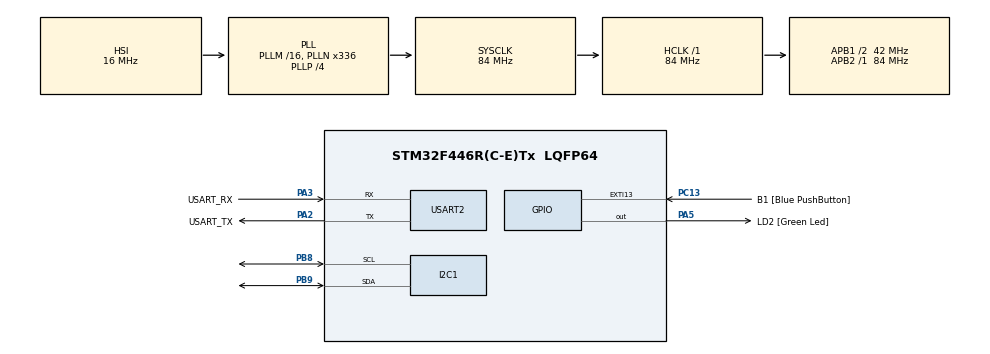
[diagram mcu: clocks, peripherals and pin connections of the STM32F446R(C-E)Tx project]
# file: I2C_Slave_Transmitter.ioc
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Dma.I2C1_TX.0.Direction=DMA_MEMORY_TO_PERIPH
Dma.I2C1_TX.0.FIFOMode=DMA_FIFOMODE_DISABLE
Dma.I2C1_TX.0.Instance=DMA1_Stream6
Dma.I2C1_TX.0.MemDataAlignment=DMA_MDATAALIGN_BYTE
Dma.I2C1_TX.0.MemInc=DMA_MINC_ENABLE
Dma.I2C1_TX.0.Mode=DMA_NORMAL
Dma.I2C1_TX.0.PeriphDataAlignment=DMA_PDATAALIGN_BYTE
Dma.I2C1_TX.0.PeriphInc=DMA_PINC_DISABLE
Dma.I2C1_TX.0.Priority=DMA_PRIORITY_LOW
Dma.Request0=I2C1_TX
I2C1.OwnAddress=0x64
Mcu.Family=STM32F4
Mcu.Name=STM32F446R(C-E)Tx
Mcu.Package=LQFP64
NVIC.DMA1_Stream6_IRQn=true\:0\:0\:false\:false\:true\:false\:true\:true
NVIC.I2C1_ER_IRQn=true\:0\:0\:false\:false\:true\:true\:true\:true
NVIC.I2C1_EV_IRQn=true\:0\:0\:false\:false\:true\:true\:true\:true
NVIC.PriorityGroup=NVIC_PRIORITYGROUP_0
PA13.GPIO_Label=TMS
PA13.Mode=Serial_Wire
PA13.Signal=SYS_JTMS-SWDIO
PA14.GPIO_Label=TCK
PA14.Mode=Serial_Wire
PA14.Signal=SYS_JTCK-SWCLK
PA2.GPIO_Label=USART_TX
PA2.Mode=Asynchronous
PA2.Signal=USART2_TX
PA3.GPIO_Label=USART_RX
PA3.Mode=Asynchronous
PA3.Signal=USART2_RX
PA5.GPIO_Label=LD2 [Green Led]
PA5.Signal=GPIO_Output
PB3.GPIO_Label=SWO
PB3.Signal=SYS_JTDO-SWO
PB8.Mode=I2C
PB8.Signal=I2C1_SCL
PB9.Mode=I2C
PB9.Signal=I2C1_SDA
PC13.GPIO_Label=B1 [Blue PushButton]
PC13.GPIO_ModeDefaultEXTI=GPIO_MODE_IT_FALLING
PC13.Signal=GPXTI13
PC14-OSC32_IN.Mode=LSE-External-Oscillator
PC14-OSC32_IN.Signal=RCC_OSC32_IN
PC15-OSC32_OUT.Mode=LSE-External-Oscillator
PC15-OSC32_OUT.Signal=RCC_OSC32_OUT
PH0-OSC_IN.Mode=HSE-External-Oscillator
PH0-OSC_IN.Signal=RCC_OSC_IN
PH1-OSC_OUT.Mode=HSE-External-Oscillator
PH1-OSC_OUT.Signal=RCC_OSC_OUT
ProjectManager.HeapSize=0x200
ProjectManager.StackSize=0x400
ProjectManager.TargetToolchain=STM32CubeIDE
RCC.48MHZClocksFreq_Value=84000000
RCC.AHBFreq_Value=84000000
RCC.APB1CLKDivider=RCC_HCLK_DIV2
RCC.APB1Freq_Value=42000000
RCC.APB1TimFreq_Value=84000000
RCC.APB2Freq_Value=84000000
RCC.APB2TimFreq_Value=84000000
RCC.CortexFreq_Value=84000000
RCC.FLatency-AdvancedSettings=FLASH_LATENCY_2
RCC.HCLKFreq_Value=84000000
RCC.HSE_VALUE=8000000
RCC.HSI_VALUE=16000000
RCC.PLLN=336
RCC.PLLP=RCC_PLLP_DIV4
RCC.SYSCLKFreq_VALUE=84000000
RCC.SYSCLKSource=RCC_SYSCLKSOURCE_PLLCLK
RCC.USBFreq_Value=168000000
RCC.VCOOutputFreq_Value=336000000
USART2.VirtualMode=VM_ASYNC
board=NUCLEO-F446RE

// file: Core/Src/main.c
/* USER CODE BEGIN Header */
/**
  ******************************************************************************
  * @file           : main.c
  * @brief          : Main program body
  ******************************************************************************
  * @attention
  *
  * Copyright (c) 2025 STMicroelectronics.
  * All rights reserved.
  *
  * This software is licensed under terms that can be found in the LICENSE file
  * in the root directory of this software component.
  * If no LICENSE file comes with this software, it is provided AS-IS.
  *
  ******************************************************************************
  */
/* USER CODE END Header */
#include "main.h"

/* USER CODE BEGIN Includes */
#include <string.h>
#include <stdio.h>
/* USER CODE END Includes */

I2C_HandleTypeDef hi2c1;
DMA_HandleTypeDef hdma_i2c1_tx;

UART_HandleTypeDef huart2;

/* USER CODE BEGIN PV */
uint8_t rxBuffer[1];                     // حرف واحد فقط
uint8_t txBuffer[1] = {'R'};
/* USER CODE END PV */

void SystemClock_Config(void);
static void MX_GPIO_Init(void);
static void MX_DMA_Init(void);
static void MX_USART2_UART_Init(void);
static void MX_I2C1_Init(void);

int main(void)
{

  /* MCU Configuration--------------------------------------------------------*/

  /* Reset of all peripherals, Initializes the Flash interface and the Systick. */
  HAL_Init();

  /* Configure the system clock */
  SystemClock_Config();

  /* Initialize all configured peripherals */
  MX_GPIO_Init();
  MX_DMA_Init();
  MX_USART2_UART_Init();
  MX_I2C1_Init();
  /* USER CODE BEGIN 2 */
  HAL_I2C_EnableListen_IT(&hi2c1); // Start listening as slave
  /* USER CODE END 2 */
  const char *startMsg = "[Slave] Ready...\r\n";
    HAL_UART_Transmit(&huart2, (uint8_t*)startMsg, strlen(startMsg), HAL_MAX_DELAY);
  /* Infinite loop */
  while (1)
  {

  }
}

void SystemClock_Config(void)
{
  RCC_OscInitTypeDef RCC_OscInitStruct = {0};
  RCC_ClkInitTypeDef RCC_ClkInitStruct = {0};

  /** Configure the main internal regulator output voltage
  */
  __HAL_RCC_PWR_CLK_ENABLE();
  __HAL_PWR_VOLTAGESCALING_CONFIG(PWR_REGULATOR_VOLTAGE_SCALE3);

  /** Initializes the RCC Oscillators according to the specified parameters
  * in the RCC_OscInitTypeDef structure.
  */
  RCC_OscInitStruct.OscillatorType = RCC_OSCILLATORTYPE_HSI;
  RCC_OscInitStruct.HSIState = RCC_HSI_ON;
  RCC_OscInitStruct.HSICalibrationValue = RCC_HSICALIBRATION_DEFAULT;
  RCC_OscInitStruct.PLL.PLLState = RCC_PLL_ON;
  RCC_OscInitStruct.PLL.PLLSource = RCC_PLLSOURCE_HSI;
  RCC_OscInitStruct.PLL.PLLM = 16;
  RCC_OscInitStruct.PLL.PLLN = 336;
  RCC_OscInitStruct.PLL.PLLP = RCC_PLLP_DIV4;
  RCC_OscInitStruct.PLL.PLLQ = 2;
  RCC_OscInitStruct.PLL.PLLR = 2;
  if (HAL_RCC_OscConfig(&RCC_OscInitStruct) != HAL_OK)
  {
    Error_Handler();
  }

  /** Initializes the CPU, AHB and APB buses clocks
  */
  RCC_ClkInitStruct.ClockType = RCC_CLOCKTYPE_HCLK|RCC_CLOCKTYPE_SYSCLK
                              |RCC_CLOCKTYPE_PCLK1|RCC_CLOCKTYPE_PCLK2;
  RCC_ClkInitStruct.SYSCLKSource = RCC_SYSCLKSOURCE_PLLCLK;
  RCC_ClkInitStruct.AHBCLKDivider = RCC_SYSCLK_DIV1;
  RCC_ClkInitStruct.APB1CLKDivider = RCC_HCLK_DIV2;
  RCC_ClkInitStruct.APB2CLKDivider = RCC_HCLK_DIV1;

  if (HAL_RCC_ClockConfig(&RCC_ClkInitStruct, FLASH_LATENCY_2) != HAL_OK)
  {
    Error_Handler();
  }
}

static void MX_I2C1_Init(void)
{

  hi2c1.Instance = I2C1;
  hi2c1.Init.ClockSpeed = 100000;
  hi2c1.Init.DutyCycle = I2C_DUTYCYCLE_2;
  hi2c1.Init.OwnAddress1 = 200;
  hi2c1.Init.AddressingMode = I2C_ADDRESSINGMODE_7BIT;
  hi2c1.Init.DualAddressMode = I2C_DUALADDRESS_DISABLE;
  hi2c1.Init.OwnAddress2 = 0;
  hi2c1.Init.GeneralCallMode = I2C_GENERALCALL_DISABLE;
  hi2c1.Init.NoStretchMode = I2C_NOSTRETCH_DISABLE;
  if (HAL_I2C_Init(&hi2c1) != HAL_OK)
  {
    Error_Handler();
  }

}

static void MX_USART2_UART_Init(void)
{

  huart2.Instance = USART2;
  huart2.Init.BaudRate = 115200;
  huart2.Init.WordLength = UART_WORDLENGTH_8B;
  huart2.Init.StopBits = UART_STOPBITS_1;
  huart2.Init.Parity = UART_PARITY_NONE;
  huart2.Init.Mode = UART_MODE_TX_RX;
  huart2.Init.HwFlowCtl = UART_HWCONTROL_NONE;
  huart2.Init.OverSampling = UART_OVERSAMPLING_16;
  if (HAL_UART_Init(&huart2) != HAL_OK)
  {
    Error_Handler();
  }

}

static void MX_DMA_Init(void)
{

  /* DMA controller clock enable */
  __HAL_RCC_DMA1_CLK_ENABLE();

  /* DMA interrupt init */
  /* DMA1_Stream6_IRQn interrupt configuration */
  HAL_NVIC_SetPriority(DMA1_Stream6_IRQn, 0, 0);
  HAL_NVIC_EnableIRQ(DMA1_Stream6_IRQn);

}

static void MX_GPIO_Init(void)
{
  GPIO_InitTypeDef GPIO_InitStruct = {0};

  /* GPIO Ports Clock Enable */
  __HAL_RCC_GPIOC_CLK_ENABLE();
  __HAL_RCC_GPIOH_CLK_ENABLE();
  __HAL_RCC_GPIOA_CLK_ENABLE();
  __HAL_RCC_GPIOB_CLK_ENABLE();

  /*Configure GPIO pin Output Level */
  HAL_GPIO_WritePin(LD2_GPIO_Port, LD2_Pin, GPIO_PIN_RESET);

  /*Configure GPIO pin : B1_Pin */
  GPIO_InitStruct.Pin = B1_Pin;
  GPIO_InitStruct.Mode = GPIO_MODE_IT_FALLING;
  GPIO_InitStruct.Pull = GPIO_NOPULL;
  HAL_GPIO_Init(B1_GPIO_Port, &GPIO_InitStruct);

  /*Configure GPIO pin : LD2_Pin */
  GPIO_InitStruct.Pin = LD2_Pin;
  GPIO_InitStruct.Mode = GPIO_MODE_OUTPUT_PP;
  GPIO_InitStruct.Pull = GPIO_NOPULL;
  GPIO_InitStruct.Speed = GPIO_SPEED_FREQ_LOW;
  HAL_GPIO_Init(LD2_GPIO_Port, &GPIO_InitStruct);

}

/* USER CODE BEGIN 4 */
void HAL_I2C_AddrCallback(I2C_HandleTypeDef *hi2c, uint8_t TransferDirection, uint16_t AddrMatchCode)
{
  if (TransferDirection == I2C_DIRECTION_TRANSMIT)
  {
    HAL_I2C_Slave_Seq_Receive_IT(hi2c, rxBuffer, 1, I2C_NEXT_FRAME);
  }
  else if (TransferDirection == I2C_DIRECTION_RECEIVE)
  {
    HAL_GPIO_WritePin(GPIOA, GPIO_PIN_5, GPIO_PIN_SET); // LED ON
    HAL_I2C_Slave_Seq_Transmit_IT(hi2c, txBuffer, 1, I2C_NEXT_FRAME);
  }
}

void HAL_I2C_SlaveRxCpltCallback(I2C_HandleTypeDef *hi2c)
{
  if (rxBuffer[0] == 'A') {
    txBuffer[0] = 'B';
    const char *msg = "[Slave] Got A :: Will reply B\r\n";
    HAL_UART_Transmit(&huart2, (uint8_t*)msg, strlen(msg), HAL_MAX_DELAY);
  }
  else {
    txBuffer[0] = '?';
    const char *msg = "[Slave] Unknown cmd\r\n";
    HAL_UART_Transmit(&huart2, (uint8_t*)msg, strlen(msg), HAL_MAX_DELAY);
  }
}

void HAL_I2C_ListenCpltCallback(I2C_HandleTypeDef *hi2c)
{
  HAL_I2C_EnableListen_IT(hi2c);
  HAL_GPIO_WritePin(GPIOA, GPIO_PIN_5, GPIO_PIN_RESET); // LED OFF
}

/* USER CODE END 4 */

void Error_Handler(void)
{
  __disable_irq();
  while (1)
  {
  }
}
